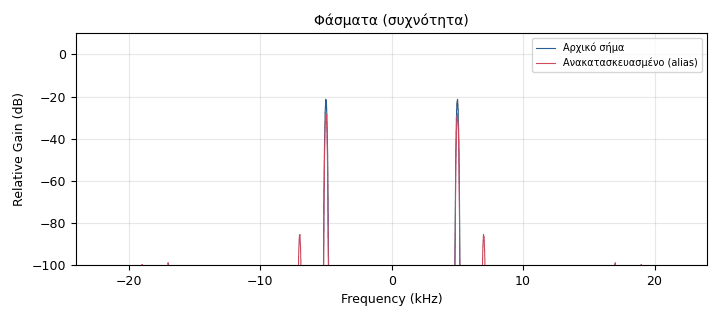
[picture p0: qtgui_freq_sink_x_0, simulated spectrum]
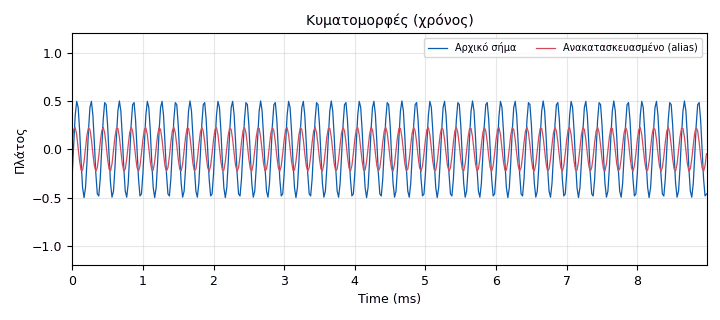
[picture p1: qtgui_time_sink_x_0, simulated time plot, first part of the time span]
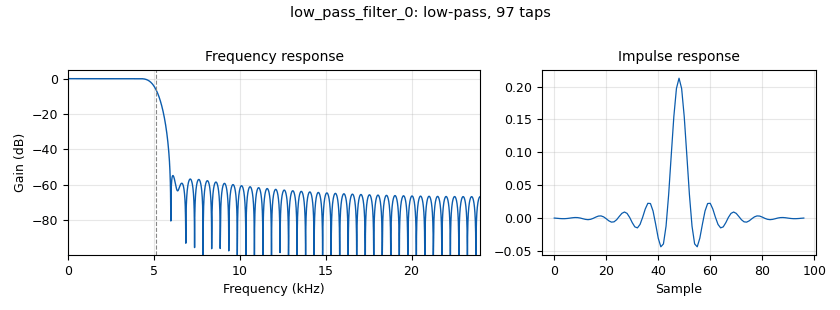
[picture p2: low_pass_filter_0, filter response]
options:
  parameters:
    author: K510 Digital Communications Lab
    description: Aliasing & sampling-rate demonstration (simulation only, no hardware)
    generate_options: qt_gui
    id: aliasing_demo
    output_language: python
    title: Aliasing Demo (Dsigmatolipsia & Anakataskevi)
  states: {}

blocks:
- name: N
  id: variable_qtgui_chooser
  parameters:
    comment: Downsampling factor -> effective rate = samp_rate / N
    gui_hint: 0,2,1,1
    label: Ρυθμός δειγματοληψίας
    label0: 48 kHz (N=1)
    label1: 24 kHz (N=2)
    label2: 12 kHz (N=4)
    label3: 6 kHz (N=8)
    num_opts: '4'
    option0: '1'
    option1: '2'
    option2: '4'
    option3: '8'
    type: int
    value: '4'
  states: {}
- name: audio_on
  id: variable_qtgui_check_box
  parameters:
    comment: Un-mute to hear the (aliased) reconstructed tone
    'false': '0'
    gui_hint: 0,3,1,1
    label: Αναπαραγωγή ήχου
    'true': '1'
    type: int
    value: '0'
  states: {}
- name: nyq
  id: variable
  parameters:
    comment: New Nyquist after downsampling
    value: samp_rate/(2*N)
  states: {}
- name: rec_cutoff
  id: variable
  parameters:
    comment: Reconstruction LPF cutoff (just below new Nyquist)
    value: nyq*0.85
  states: {}
- name: rec_trans
  id: variable
  parameters:
    comment: Reconstruction LPF transition width
    value: nyq*0.2
  states: {}
- name: samp_rate
  id: variable
  parameters:
    comment: Base sample rate (fixed)
    value: '48000'
  states: {}
- name: sig_freq
  id: variable_qtgui_range
  parameters:
    comment: Frequency of the source cosine
    gui_hint: 0,0,1,2
    label: Συχνότητα σήματος (Hz)
    start: '100'
    step: '100'
    stop: '24000'
    value: '5000'
  states: {}
- name: analog_sig_source_x_0
  id: analog_sig_source_x
  parameters:
    amp: '0.5'
    comment: Original cosine (band-unlimited source)
    freq: sig_freq
    offset: '0'
    phase: '0'
    samp_rate: samp_rate
    type: float
    waveform: analog.GR_COS_WAVE
  states: {}
- name: audio_sink_0
  id: audio_sink
  parameters:
    comment: Listen to the reconstructed (possibly aliased) tone
    samp_rate: '48000'
  states: {}
- name: blocks_keep_one_in_n_0
  id: blocks_keep_one_in_n
  parameters:
    comment: 'Sampling: keep 1 of every N samples (rate -> samp_rate/N)'
    n: N
    type: float
  states: {}
- name: blocks_multiply_const_vxx_0
  id: blocks_multiply_const_vxx
  parameters:
    comment: Mute / un-mute gate for audio
    const: audio_on
    type: float
  states: {}
- name: blocks_repeat_0
  id: blocks_repeat
  parameters:
    comment: 'Reconstruction: hold each sample N times (back to samp_rate)'
    interp: N
    type: float
  states: {}
- name: blocks_throttle_0
  id: blocks_throttle
  parameters:
    comment: Pace simulation at samp_rate
    samples_per_second: samp_rate
    type: float
  states: {}
- name: low_pass_filter_0
  id: low_pass_filter
  parameters:
    comment: Reconstruction LPF at the new Nyquist
    cutoff_freq: rec_cutoff
    decim: '1'
    gain: '1'
    samp_rate: samp_rate
    type: fir_filter_fff
    width: rec_trans
    win: window.WIN_HAMMING
  states: {}
- name: qtgui_freq_sink_x_0
  id: qtgui_freq_sink_x
  parameters:
    average: '0.1'
    bw: samp_rate
    comment: Original vs reconstructed spectrum
    fc: '0'
    fftsize: '1024'
    grid: 'True'
    gui_hint: qtgui_tab_widget_0@1
    label1: Αρχικό σήμα
    label2: Ανακατασκευασμένο (alias)
    name: '"Φάσματα (συχνότητα)"'
    nconnections: '2'
    type: float
    ymin: '-100'
  states: {}
- name: qtgui_tab_widget_0
  id: qtgui_tab_widget
  parameters:
    gui_hint: 1,0,1,4
    label0: Πεδίο χρόνου
    label1: Πεδίο συχνότητας
    num_tabs: '2'
  states: {}
- name: qtgui_time_sink_x_0
  id: qtgui_time_sink_x
  parameters:
    comment: Original vs reconstructed, overlaid
    grid: 'True'
    gui_hint: qtgui_tab_widget_0@0
    label1: Αρχικό σήμα
    label2: Ανακατασκευασμένο (alias)
    name: '"Κυματομορφές (χρόνος)"'
    nconnections: '2'
    size: '1024'
    srate: samp_rate
    type: float
    ylabel: Πλάτος
    ymax: '1.2'
    ymin: '-1.2'
  states: {}

connections:
- [analog_sig_source_x_0, '0', blocks_throttle_0, '0']
- [blocks_keep_one_in_n_0, '0', blocks_repeat_0, '0']
- [blocks_multiply_const_vxx_0, '0', audio_sink_0, '0']
- [blocks_repeat_0, '0', low_pass_filter_0, '0']
- [blocks_throttle_0, '0', blocks_keep_one_in_n_0, '0']
- [blocks_throttle_0, '0', qtgui_freq_sink_x_0, '0']
- [blocks_throttle_0, '0', qtgui_time_sink_x_0, '0']
- [low_pass_filter_0, '0', blocks_multiply_const_vxx_0, '0']
- [low_pass_filter_0, '0', qtgui_freq_sink_x_0, '1']
- [low_pass_filter_0, '0', qtgui_time_sink_x_0, '1']

metadata:
  file_format: 1
  grc_version: 3.10.12.0
